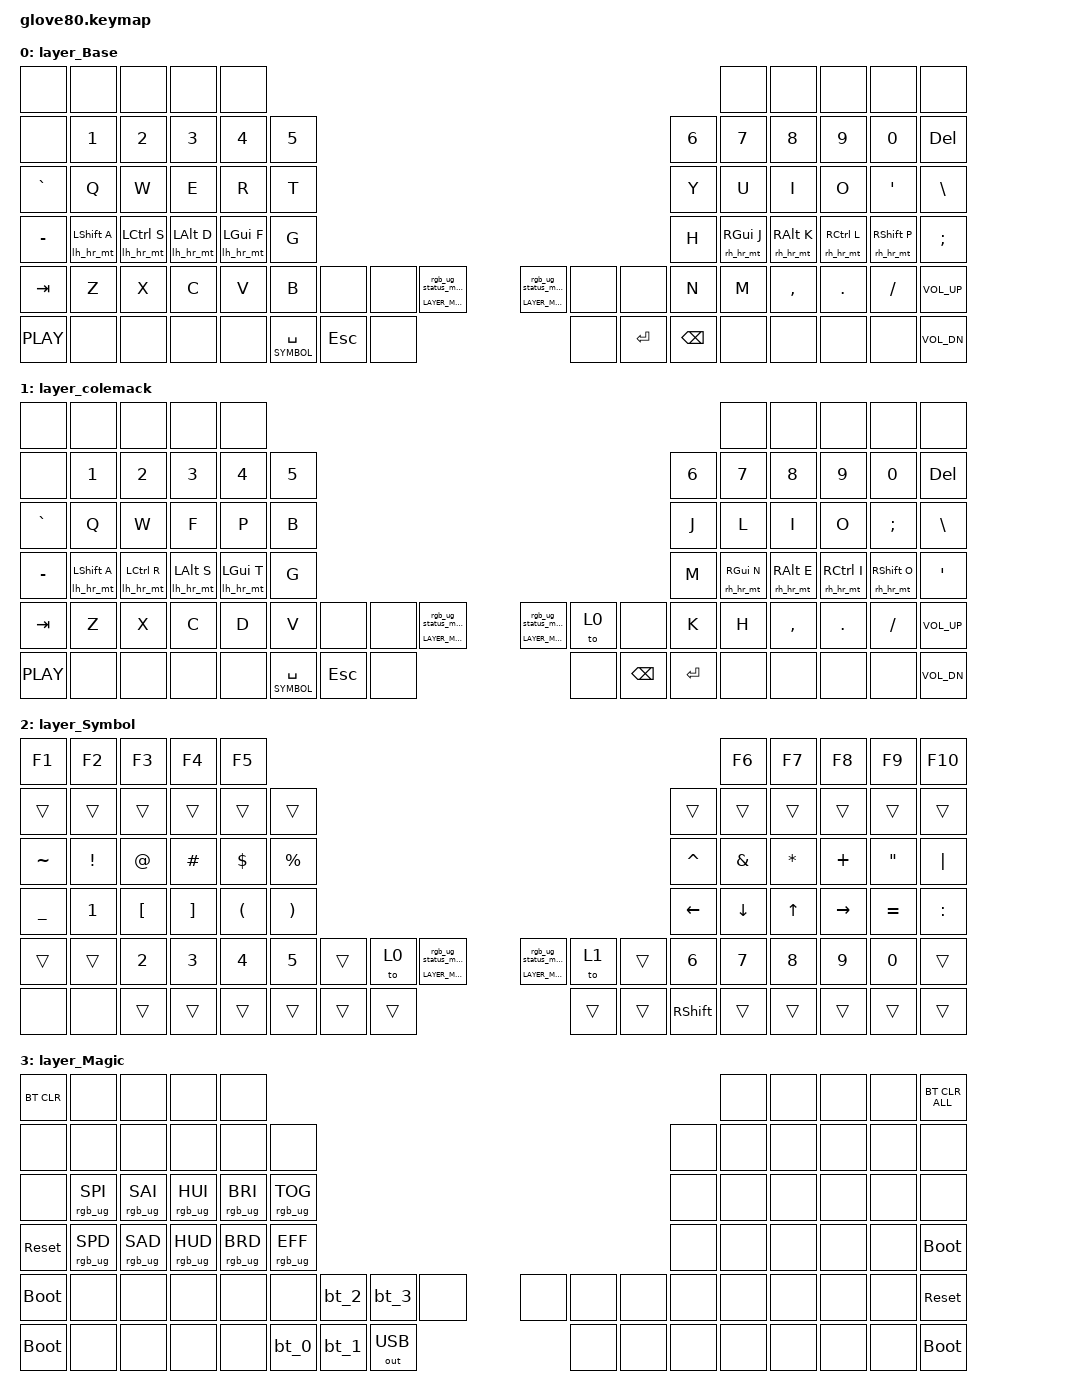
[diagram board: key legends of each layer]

/*
 * Copyright (c) 2020 The ZMK Contributors
 * Copyright (c) 2023 Innaworks Development Limited, trading as MoErgo
 *
 * SPDX-License-Identifier: MIT
 */


/* THIS FILE WAS GENERATED BY GLOVE80 LAYOUT EDITOR
 *
 * This file was generated automatically. You may or may not want to
 * edit it directly.
 */

#include <behaviors.dtsi>
/* Include all behavior includes needed */
#include <dt-bindings/zmk/outputs.h>
#include <dt-bindings/zmk/keys.h>
#include <dt-bindings/zmk/bt.h>
#include <dt-bindings/zmk/rgb.h>

/* Automatically generated layer name #define */
#define LAYER_Base 0
#define LAYER_colemack 1
#define LAYER_Symbol 2
#define LAYER_Magic 3

/* To deal with the situation where there is no Lower layer, to keep &lower happy */
#ifndef LAYER_Lower
#define LAYER_Lower 0
#endif

/* Custom Device-tree */



/* Glove80 system behavior & macros */
/ {
    behaviors {
        // For the "layer" key, it'd nice to be able to use it as either a shift or a toggle.
        // Configure it as a tap dance, so the first tap (or hold) is a &mo and the second tap is a &to
        lower: lower {
            compatible = "zmk,behavior-tap-dance";
            label = "LAYER_TAP_DANCE";
            #binding-cells = <0>;
            tapping-term-ms = <200>;
            bindings = <&mo LAYER_Lower>, <&to LAYER_Lower>;
        };
    };
};

/ {
    macros {
        rgb_ug_status_macro: rgb_ug_status_macro {
            label = "RGB_UG_STATUS";
            compatible = "zmk,behavior-macro";
            #binding-cells = <0>;
            bindings
                = <&rgb_ug RGB_STATUS>;
        };
    };
};


/ {
#ifdef BT_DISC_CMD
    behaviors {
        bt_0: bt_0 {
            compatible = "zmk,behavior-tap-dance";
            label = "BT_0";
            #binding-cells = <0>;
            tapping-term-ms = <200>;
            bindings = <&bt_select_0>, <&bt BT_DISC 0>;
        };
        bt_1: bt_1 {
            compatible = "zmk,behavior-tap-dance";
            label = "BT_1";
            #binding-cells = <0>;
            tapping-term-ms = <200>;
            bindings = <&bt_select_1>, <&bt BT_DISC 1>;
        };
        bt_2: bt_2 {
            compatible = "zmk,behavior-tap-dance";
            label = "BT_2";
            #binding-cells = <0>;
            tapping-term-ms = <200>;
            bindings = <&bt_select_2>, <&bt BT_DISC 2>;
        };
        bt_3: bt_3 {
            compatible = "zmk,behavior-tap-dance";
            label = "BT_3";
            #binding-cells = <0>;
            tapping-term-ms = <200>;
            bindings = <&bt_select_3>, <&bt BT_DISC 3>;
        };
    };
    macros {
        bt_select_0: bt_select_0 {
            label = "BT_SELECT_0";
            compatible = "zmk,behavior-macro";
            #binding-cells = <0>;
            bindings
                = <&out OUT_BLE>,
                  <&bt BT_SEL 0>;
        };
        bt_select_1: bt_select_1 {
            label = "BT_SELECT_1";
            compatible = "zmk,behavior-macro";
            #binding-cells = <0>;
            bindings
                = <&out OUT_BLE>,
                  <&bt BT_SEL 1>;
        };
        bt_select_2: bt_select_2 {
            label = "BT_SELECT_2";
            compatible = "zmk,behavior-macro";
            #binding-cells = <0>;
            bindings
                = <&out OUT_BLE>,
                  <&bt BT_SEL 2>;
        };
        bt_select_3: bt_select_3 {
            label = "BT_SELECT_3";
            compatible = "zmk,behavior-macro";
            #binding-cells = <0>;
            bindings
                = <&out OUT_BLE>,
                  <&bt BT_SEL 3>;
        };
    };
#else
    macros {
        bt_0: bt_0 {
            label = "BT_0";
            compatible = "zmk,behavior-macro";
            #binding-cells = <0>;
            bindings
                = <&out OUT_BLE>,
                  <&bt BT_SEL 0>;
        };
        bt_1: bt_1 {
            label = "BT_1";
            compatible = "zmk,behavior-macro";
            #binding-cells = <0>;
            bindings
                = <&out OUT_BLE>,
                  <&bt BT_SEL 1>;
        };
        bt_2: bt_2 {
            label = "BT_2";
            compatible = "zmk,behavior-macro";
            #binding-cells = <0>;
            bindings
                = <&out OUT_BLE>,
                  <&bt BT_SEL 2>;
        };
        bt_3: bt_3 {
            label = "BT_3";
            compatible = "zmk,behavior-macro";
            #binding-cells = <0>;
            bindings
                = <&out OUT_BLE>,
                  <&bt BT_SEL 3>;
        };
    };
#endif
};

/ {
    behaviors {
        magic: magic {
            compatible = "zmk,behavior-hold-tap";
            label = "MAGIC_HOLD_TAP";
            #binding-cells = <2>;
            flavor = "tap-preferred";
            tapping-term-ms = <200>;
            bindings = <&mo>, <&rgb_ug_status_macro>;
        };
    };
};

/* #define for key positions */
#define POS_LH_T1 52
#define POS_LH_T2 53
#define POS_LH_T3 54
#define POS_LH_T4 69
#define POS_LH_T5 70
#define POS_LH_T6 71
#define POS_LH_C1R2 15
#define POS_LH_C1R3 27
#define POS_LH_C1R4 39
#define POS_LH_C1R5 51
#define POS_LH_C2R1 4
#define POS_LH_C2R2 14
#define POS_LH_C2R3 26
#define POS_LH_C2R4 38
#define POS_LH_C2R5 50
#define POS_LH_C2R6 68
#define POS_LH_C3R1 3
#define POS_LH_C3R2 13
#define POS_LH_C3R3 25
#define POS_LH_C3R4 37
#define POS_LH_C3R5 49
#define POS_LH_C3R6 67
#define POS_LH_C4R1 2
#define POS_LH_C4R2 12
#define POS_LH_C4R3 24
#define POS_LH_C4R4 36
#define POS_LH_C4R5 48
#define POS_LH_C4R6 66
#define POS_LH_C5R1 1
#define POS_LH_C5R2 11
#define POS_LH_C5R3 23
#define POS_LH_C5R4 35
#define POS_LH_C5R5 47
#define POS_LH_C5R6 65
#define POS_LH_C6R1 0
#define POS_LH_C6R2 10
#define POS_LH_C6R3 22
#define POS_LH_C6R4 34
#define POS_LH_C6R5 46
#define POS_LH_C6R6 64
#define POS_RH_T1 57
#define POS_RH_T2 56
#define POS_RH_T3 55
#define POS_RH_T4 74
#define POS_RH_T5 73
#define POS_RH_T6 72
#define POS_RH_C1R2 16
#define POS_RH_C1R3 28
#define POS_RH_C1R4 40
#define POS_RH_C1R5 58
#define POS_RH_C2R1 5
#define POS_RH_C2R2 17
#define POS_RH_C2R3 29
#define POS_RH_C2R4 41
#define POS_RH_C2R5 59
#define POS_RH_C2R6 75
#define POS_RH_C3R1 6
#define POS_RH_C3R2 18
#define POS_RH_C3R3 30
#define POS_RH_C3R4 42
#define POS_RH_C3R5 60
#define POS_RH_C3R6 76
#define POS_RH_C4R1 7
#define POS_RH_C4R2 19
#define POS_RH_C4R3 31
#define POS_RH_C4R4 43
#define POS_RH_C4R5 61
#define POS_RH_C4R6 77
#define POS_RH_C5R1 8
#define POS_RH_C5R2 20
#define POS_RH_C5R3 32
#define POS_RH_C5R4 44
#define POS_RH_C5R5 62
#define POS_RH_C5R6 78
#define POS_RH_C6R1 9
#define POS_RH_C6R2 21
#define POS_RH_C6R3 33
#define POS_RH_C6R4 45
#define POS_RH_C6R5 63
#define POS_RH_C6R6 79

/* Custom Defined Behaviors */
/ {
/*****************************************************************************/
                            /* Key Positions */
/*****************************************************************************/

/* Use these key positions for Hold-Tap hold-trigger-key-positions and Combos

┌────┬────┬────┬────┬────┐                           ┌────┬────┬────┬────┬────┐
   0    1    2    3    4                                5    6    7    8    9
├────┼────┼────┼────┼────┼────┐                 ┌────┼────┼────┼────┼────┼────┤
  10   11   12   13   14   15                     16   17   18   19   20   21
├────┼────┼────┼────┼────┼────┤                 ├────┼────┼────┼────┼────┼────┤
  22   23   24   25   26   27                     28   29   30   31   32   33
├────┼────┼────┼────┼────┼────┤                 ├────┼────┼────┼────┼────┼────┤
  34   35   36   37   38   39                     40   41   42   43   44   45
├────┼────┼────┼────┼────┼────┤                 ├────┼────┼────┼────┼────┼────┤
  46   47   48   49   50   51                     58   59   60   61   62   63
├────┼────┼────┼────┼────┼────┘                 └────┼────┼────┼────┼────┼────┤
  64   65   66   67   68                               75   76   77   78   79
└────┴────┴────┴────┴────┘                           └────┴────┴────┴────┴────┘
                    ┌────┬────┬────┐       ┌────┬────┬────┐
                      52   53   54           55   56   57
                    ├────┼────┼────┤       ├────┼────┼────┤
                      69   70   71           72   73   74
                    └────┴────┴────┘       └────┴────┴────┘
*/

#define SYMBOL 2 /* SYMBOL LAYER */

/* How long to hold to activate home row mods for same side or mouse usage */
#define HOME_ROW_MODS_TAPPING_TERM_MS 200

/* Cool down after typing before home row mods can be used */
#define HOME_ROW_MODS_QUICK_TAP_MS 150

/* How long thumb keys can be held before rolls send the higher layer key */
#define THUMBS_TAPPING_TERM_MS 200

/* Convert NAME parameters into a ZMK label string */
#define STRINGIFY(x) #x

/* Create a ZMK behavior without having to specify the name three times */
#define ZMK_BEHAVIOR(NAME, ...) \
    behaviors { \
        NAME: NAME { \
            label = STRINGIFY(ZB_ ## NAME); \
            __VA_ARGS__ \
        }; \
    };

/* Hold-Tap helper */
#define HOLD_TAP(NAME, ...) \
    ZMK_BEHAVIOR(NAME, \
        compatible = "zmk,behavior-hold-tap"; \
        #binding-cells = <2>; \
        __VA_ARGS__ \
    )

/* Balanced Hold-Tap for home row mods and thumb layer keys */
#define BALANCED_HOLD_TAP(NAME, ...) \
    HOLD_TAP(NAME, \
        flavor = "balanced";  /* Fast hold behavior */ \
        __VA_ARGS__ \
    )

/* "Timerless" home row mod Hold-Tap using defined timers */
#define HOME_ROW_MOD(NAME, KEY_POSITIONS) \
    BALANCED_HOLD_TAP(NAME, \
        tapping-term-ms = <HOME_ROW_MODS_TAPPING_TERM_MS>;  /* Mouse usage */ \
        quick-tap-ms = <HOME_ROW_MODS_QUICK_TAP_MS>;  /* Typing cool down */ \
        global-quick-tap;  /* Lockout when typing quickly */ \
        hold-trigger-key-positions = <KEY_POSITIONS>;  /* Use other hand */ \
        hold-trigger-on-release;  /* Enable chording mods */ \
        bindings = <&kp>, <&kp>; \
    )

/* Left hand key positions for use with right hand mods */
#define LEFT_HAND_KEYS \
    /*    ┌────┬────┬────┬────┬────┐                                       */ \
             0    1    2    3    4                                            \
    /*    ├────┼────┼────┼────┼────┼────┐                                  */ \
            10   11   12   13   14   15                                       \
    /*    ├────┼────┼────┼────┼────┼────┤                                  */ \
            22   23   24   25   26   27                                       \
    /*    ├────┼────┼────┼────┼────┼────┤                                  */ \
            34   35   36   37   38   39                                       \
    /*    ├────┼────┼────┼────┼────┼────┤                                  */ \
            46   47   48   49   50   51                                       \
    /*    ├────┼────┼────┼────┼────┼────┘                                  */ \
            64   65   66   67   68
    /*    └────┴────┴────┴────┴────┘                                       */

/* Right hand key positions for use with left hand mods */
#define RIGHT_HAND_KEYS \
    /*                                          ┌────┬────┬────┬────┬────┐ */ \
                                                   5    6    7    8    9      \
    /*                                     ┌────┼────┼────┼────┼────┼────┤ */ \
                                             16   17   18   19   20   21      \
    /*                                     ├────┼────┼────┼────┼────┼────┤ */ \
                                             28   29   30   31   32   33      \
    /*                                     ├────┼────┼────┼────┼────┼────┤ */ \
                                             40   41   42   43   44   45      \
    /*                                     ├────┼────┼────┼────┼────┼────┤ */ \
                                             58   59   60   61   62   63      \
    /*                                     └────┼────┼────┼────┼────┼────┤ */ \
                                                  75   76   77   78   79
    /*                                          └────┴────┴────┴────┴────┘ */

/* Thumb key positions for use with mods on both hands */
#define THUMB_KEYS \
    /*                 ┌────┬────┬────┐      ┌────┬────┬────┐              */ \
                         52   53   54          55   56   57                   \
    /*                 ├────┼────┼────┤      ├────┼────┼────┤              */ \
                         69   70   71          72   73   74
    /*                 └────┴────┴────┘      └────┴────┴────┘              */ 

HOME_ROW_MOD(lh_hr_mt, RIGHT_HAND_KEYS THUMB_KEYS)  /* Left hand */
HOME_ROW_MOD(rh_hr_mt, LEFT_HAND_KEYS THUMB_KEYS)  /* Right hand */

/* Home thumb layer tap without quick tap; faster layer switching */
#define HOME_THUMB_LAYER_TAP(NAME, TAP_BINDING) \
    BALANCED_HOLD_TAP(NAME, \
        tapping-term-ms = <THUMBS_TAPPING_TERM_MS>;  /* Rolls send tap key */ \
        bindings = <&mo>, <TAP_BINDING>; \
    )

HOME_THUMB_LAYER_TAP(ht_lt, &kp)  /* Used for Editing and Numbers layers */
};

/* Automatically generated macro definitions */
/ {
    macros {
    
    };
};

/* Automatically generated keymap */
/ {
    keymap {
        compatible = "zmk,keymap";


        layer_Base {
            bindings = <
      &none              &none              &none             &none             &none                                                                                                                          &none             &none              &none              &none         &none
      &none             &kp N1             &kp N2            &kp N3            &kp N4  &kp N5                                                                                               &kp N6            &kp N7            &kp N8             &kp N9             &kp N0       &kp DEL
  &kp GRAVE              &kp Q              &kp W             &kp E             &kp R   &kp T                                                                                                &kp Y             &kp U             &kp I              &kp O            &kp SQT      &kp BSLH
  &kp MINUS  &lh_hr_mt LSHFT A  &lh_hr_mt LCTRL S  &lh_hr_mt LALT D  &lh_hr_mt LGUI F   &kp G                                                                                                &kp H  &rh_hr_mt RGUI J  &rh_hr_mt RALT K  &rh_hr_mt RCTRL L  &rh_hr_mt RSHFT P      &kp SEMI
    &kp TAB              &kp Z              &kp X             &kp C             &kp V   &kp B                &none    &none  &magic LAYER_Magic 0  &magic LAYER_Magic 0    &none     &none   &kp N             &kp M         &kp COMMA            &kp DOT           &kp FSLH  &kp C_VOL_UP
 &kp C_PLAY              &none              &none             &none             &none          &ht_lt SYMBOL SPACE  &kp ESC                 &none                 &none  &kp RET  &kp BSPC                     &none             &none              &none              &none  &kp C_VOL_DN
            >;
        };

        layer_colemack {
            bindings = <
      &none              &none              &none             &none             &none                                                                                                                          &none             &none              &none              &none         &none
      &none             &kp N1             &kp N2            &kp N3            &kp N4  &kp N5                                                                                               &kp N6            &kp N7            &kp N8             &kp N9             &kp N0       &kp DEL
  &kp GRAVE              &kp Q              &kp W             &kp F             &kp P   &kp B                                                                                                &kp J             &kp L             &kp I              &kp O           &kp SEMI      &kp BSLH
  &kp MINUS  &lh_hr_mt LSHFT A  &lh_hr_mt LCTRL R  &lh_hr_mt LALT S  &lh_hr_mt LGUI T   &kp G                                                                                                &kp M  &rh_hr_mt RGUI N  &rh_hr_mt RALT E  &rh_hr_mt RCTRL I  &rh_hr_mt RSHFT O       &kp SQT
    &kp TAB              &kp Z              &kp X             &kp C             &kp D   &kp V                &none    &none  &magic LAYER_Magic 0  &magic LAYER_Magic 0     &to 0    &none   &kp K             &kp H         &kp COMMA            &kp DOT           &kp FSLH  &kp C_VOL_UP
 &kp C_PLAY              &none              &none             &none             &none          &ht_lt SYMBOL SPACE  &kp ESC                 &none                 &none  &kp BSPC  &kp RET                     &none             &none              &none              &none  &kp C_VOL_DN
            >;
        };

        layer_Symbol {
            bindings = <
    &kp F1    &kp F2    &kp F3    &kp F4    &kp F5                                                                                                         &kp F6    &kp F7     &kp F8     &kp F9    &kp F10
    &trans    &trans    &trans    &trans    &trans     &trans                                                                                    &trans    &trans    &trans     &trans     &trans     &trans
 &kp TILDE  &kp EXCL    &kp AT  &kp HASH  &kp DLLR  &kp PRCNT                                                                                 &kp CARET  &kp AMPS  &kp STAR   &kp PLUS    &kp DQT   &kp PIPE
 &kp UNDER    &kp N1  &kp LBKT  &kp RBKT  &kp LPAR   &kp RPAR                                                                                  &kp LEFT  &kp DOWN    &kp UP  &kp RIGHT  &kp EQUAL  &kp COLON
    &trans    &trans    &kp N2    &kp N3    &kp N4     &kp N5  &trans   &to 0  &magic LAYER_Magic 0  &magic LAYER_Magic 0   &to 1     &trans     &kp N6    &kp N7    &kp N8     &kp N9     &kp N0     &trans
     &none     &none    &trans    &trans    &trans             &trans  &trans                &trans                &trans  &trans  &kp RSHFT               &trans    &trans     &trans     &trans     &trans
            >;
        };

        layer_Magic {
            bindings = <
  &bt BT_CLR            &none            &none            &none            &none                                                                                  &none   &none   &none   &none  &bt BT_CLR_ALL
       &none            &none            &none            &none            &none            &none                                                         &none   &none   &none   &none   &none           &none
       &none  &rgb_ug RGB_SPI  &rgb_ug RGB_SAI  &rgb_ug RGB_HUI  &rgb_ug RGB_BRI  &rgb_ug RGB_TOG                                                         &none   &none   &none   &none   &none           &none
  &sys_reset  &rgb_ug RGB_SPD  &rgb_ug RGB_SAD  &rgb_ug RGB_HUD  &rgb_ug RGB_BRD  &rgb_ug RGB_EFF                                                         &none   &none   &none   &none   &none     &bootloader
 &bootloader            &none            &none            &none            &none            &none   &bt_2   &bt_3         &none   &none   &none   &none   &none   &none   &none   &none   &none      &sys_reset
 &bootloader            &none            &none            &none            &none                    &bt_0   &bt_1  &out OUT_USB   &none   &none   &none           &none   &none   &none   &none     &bootloader
            >;
        };

    };
};
